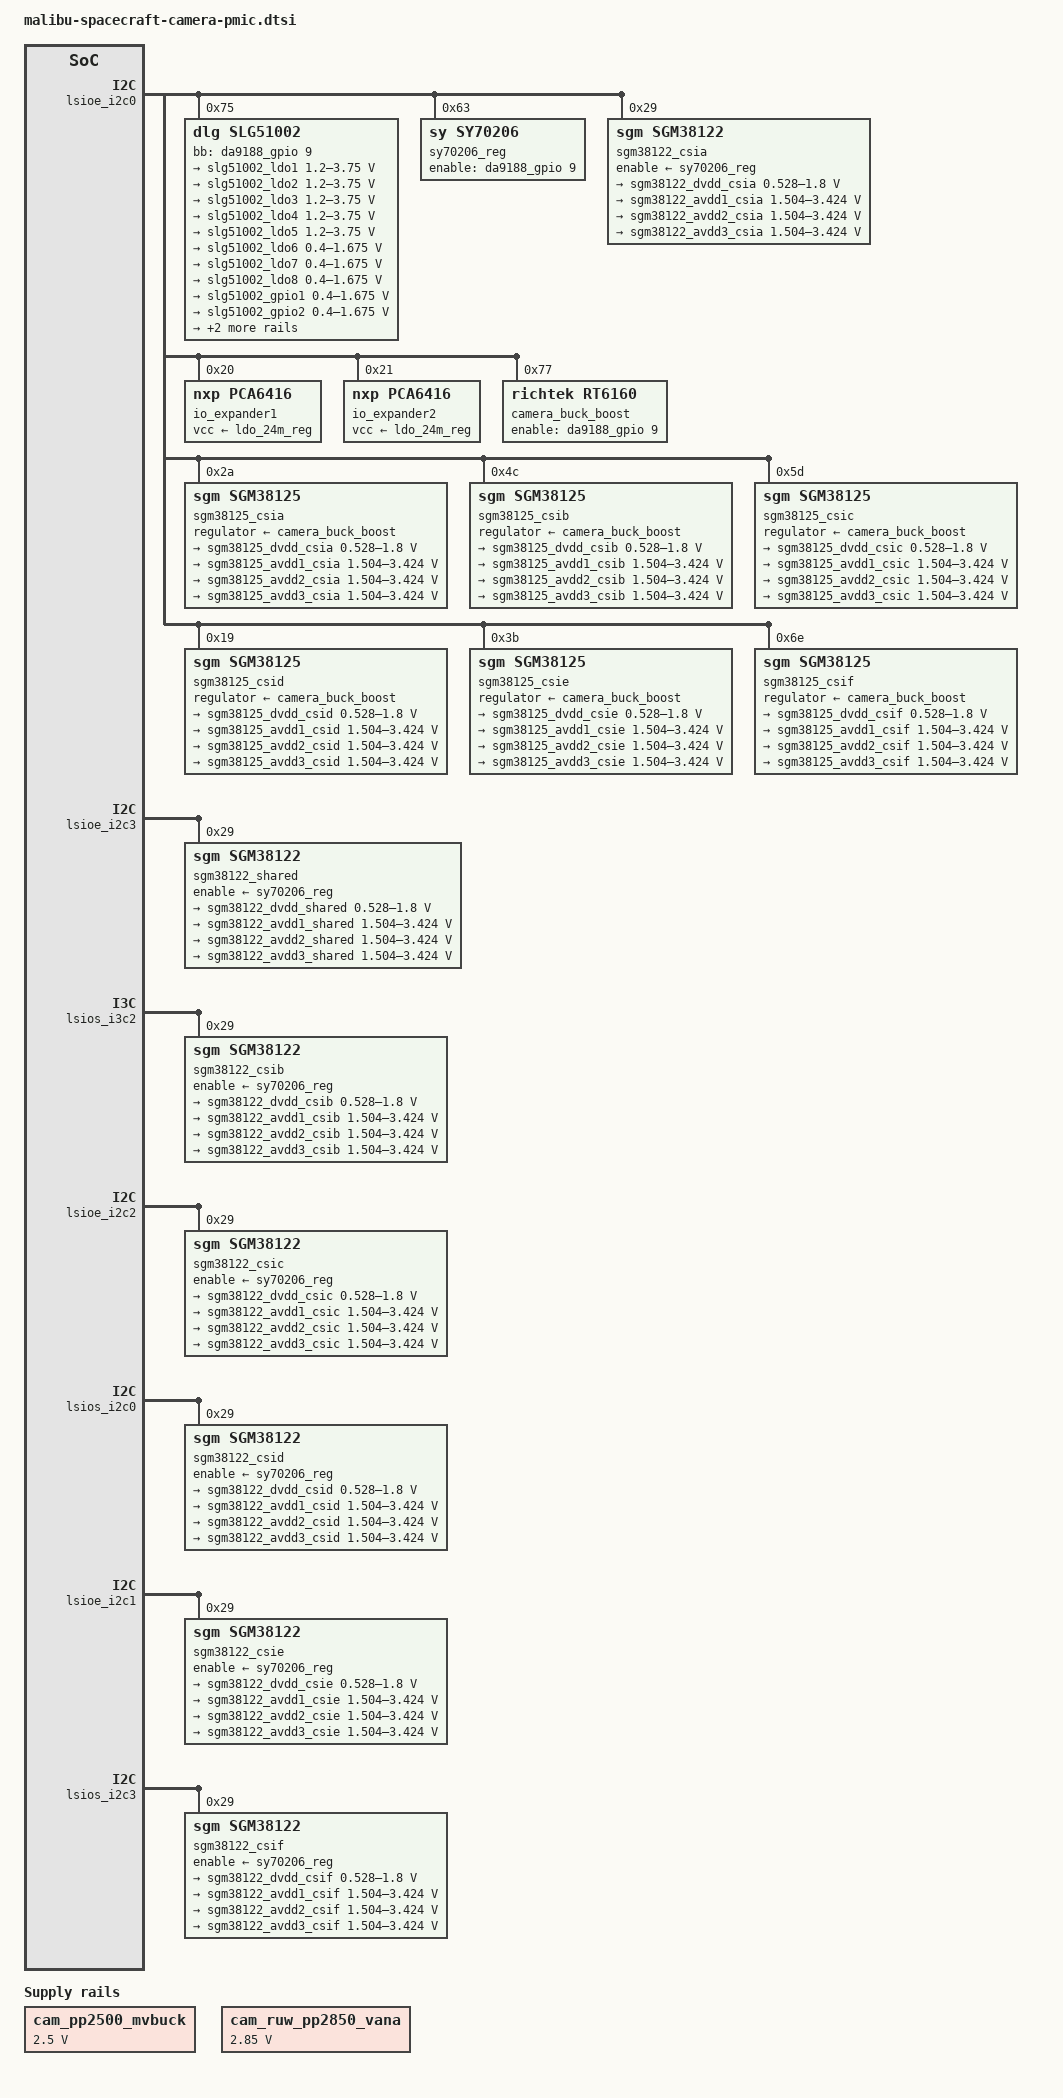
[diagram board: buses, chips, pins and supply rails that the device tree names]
// SPDX-License-Identifier: GPL-2.0-only
/*
 * camera PMIC device tree for spacecraft
 *
 * Copyright 2025 Google LLC.
 *
 */

/ {
	fragment@rcam_supply {
		target-path = "/";
		__overlay__ {
			/* SN62088AYFPR */
			cam_pp2500_mvbuck: cam_supply@0 {
				compatible = "regulator-fixed";
				status = "okay";
				regulator-name = "PP2500_CAM";
				regulator-min-microvolt = <2500000>;
				regulator-max-microvolt = <2500000>;
				/* 1.25ms */
				regulator-enable-ramp-delay = <1250>;
				enable-active-high;
				/* MVBUCK_EN */
				gpio = <PMICM2CAM_LVBUCK_EN(GPIO_ACTIVE_HIGH)>;
			};
			/* AP7361C */
			cam_ruw_pp2850_vana: cam_supply@1 {
				compatible = "regulator-fixed";
				status = "okay";
				regulator-name = "RUWCAM_VANA";
				regulator-min-microvolt = <2850000>;
				regulator-max-microvolt = <2850000>;
				/* 300us */
				regulator-enable-ramp-delay = <300>;
				enable-active-high;
				/* VANA_EN */
				gpio = <PMICM2RCAM_VANA_EN(GPIO_ACTIVE_HIGH)>;
			};
		};
	};
};

&lsioe_i2c0 {
	#address-cells = <1>;
	#size-cells = <0>;
	slg51002: slg51002@75 {
		compatible = "dlg,slg51002";
		reg = <0x75>;
		status = "ok";
		dlg,buck-gpios = <PMICS2CAM_MVBUCK_EN(GPIO_ACTIVE_HIGH)>;
		dlg,bb-gpios = <&da9188_gpio 9 GPIO_ACTIVE_HIGH>;
		dlg,cs-gpios = <PMICS2CAM_PMIC_EN(GPIO_ACTIVE_HIGH)>;
		dlg,reg-init-cells = <2>;

		regulators {
			slg51002_ldo1: ldo1 {
				regulator-name = "ldo1";
				regulator-min-microvolt = <1200000>;
				regulator-max-microvolt = <3750000>;
			};

			slg51002_ldo2: ldo2 {
				regulator-name = "ldo2";
				regulator-min-microvolt = <1200000>;
				regulator-max-microvolt = <3750000>;
			};

			slg51002_ldo3: ldo3 {
				regulator-name = "ldo3";
				regulator-min-microvolt = <1200000>;
				regulator-max-microvolt = <3750000>;
			};

			slg51002_ldo4: ldo4 {
				regulator-name = "ldo4";
				regulator-min-microvolt = <1200000>;
				regulator-max-microvolt = <3750000>;
			};

			slg51002_ldo5: ldo5 {
				regulator-name = "ldo5";
				regulator-min-microvolt = <1200000>;
				regulator-max-microvolt = <3750000>;
			};

			slg51002_ldo6: ldo6 {
				regulator-name = "ldo6";
				regulator-min-microvolt = <400000>;
				regulator-max-microvolt = <1675000>;
			};

			slg51002_ldo7: ldo7 {
				regulator-name = "ldo7";
				regulator-min-microvolt = <400000>;
				regulator-max-microvolt = <1675000>;
			};

			slg51002_ldo8: ldo8 {
				regulator-name = "ldo8";
				regulator-min-microvolt = <400000>;
				regulator-max-microvolt = <1675000>;
			};

			slg51002_gpio1: gpio1 {
				regulator-name = "gpio1";
				regulator-min-microvolt = <400000>;
				regulator-max-microvolt = <1675000>;
			};

			slg51002_gpio2: gpio2 {
				regulator-name = "gpio2";
				regulator-min-microvolt = <400000>;
				regulator-max-microvolt = <1675000>;
			};

			slg51002_gpio3: gpio3 {
				regulator-name = "gpio3";
				regulator-min-microvolt = <400000>;
				regulator-max-microvolt = <1675000>;
			};

			slg51002_gpio4: gpio4 {
				regulator-name = "gpio4";
				regulator-min-microvolt = <400000>;
				regulator-max-microvolt = <1675000>;
			};
		};

		slg51002_gpio: slg51002_gpio {
			gpio-controller;
			#gpio-cells = <2>;
			ngpios = <8>;
			gpio-ranges = <&slg51002_pinctrl 0 0 8>;
		};

		slg51002_pinctrl: slg51002_pinctrl {
		};
	};

	sy70206_reg: sy70206@63 {
		compatible = "sy,sy70206";
		reg = <0x63>;
		enable-gpios = <&da9188_gpio 9 GPIO_ACTIVE_HIGH>;
		status = "ok";
		regulator-name = "sy70206-regulator";
		regulator-min-microvolt = <3200000>;
		regulator-max-microvolt = <3200000>;
		regulator-always-on;
		/* REGULATOR_MODE_NORMAL (auto) */
		regulator-initial-mode = <0x2>;
		/* Allow for NORMAL (auto) and FAST (FPWM) mode */
		regulator-allowed-modes = <0x2>, <0x1>;
	};

	sgm38122_csia: sgm38122@29 {
		compatible = "sgm,sgm38122";
		reg = <0x29>;
		enable-supply = <&sy70206_reg>;
		status = "ok";

		regulators {
			sgm38122_dvdd_csia: dvdd {
				regulator-name = "dvdd";
				regulator-min-microvolt = <528000>;
				regulator-max-microvolt = <1800000>;
			};

			sgm38122_avdd1_csia: avdd1 {
				regulator-name = "avdd1";
				regulator-min-microvolt = <1504000>;
				regulator-max-microvolt = <3424000>;
			};

			sgm38122_avdd2_csia: avdd2 {
				regulator-name = "avdd2";
				regulator-min-microvolt = <1504000>;
				regulator-max-microvolt = <3424000>;
			};

			sgm38122_avdd3_csia: avdd3 {
				regulator-name = "avdd3";
				regulator-min-microvolt = <1504000>;
				regulator-max-microvolt = <3424000>;
			};
		};
	};

	io_expander1: io_expander@0 {
		compatible = "nxp,pca6416";
		reg = <0x20>;
		gpio-controller;
		#gpio-cells = <2>;
		vcc-supply = <&ldo_24m_reg>;
		gpio-line-names =
			"IO_EXPNDR_GPIO0",
			"IO_EXPNDR_GPIO1",
			"IO_EXPNDR_GPIO2",
			"IO_EXPNDR_GPIO3",
			"IO_EXPNDR_GPIO4",
			"IO_EXPNDR_GPIO5",
			"IO_EXPNDR_GPIO6",
			"IO_EXPNDR_GPIO7",
			"IO_EXPNDR_GPIO10",
			"IO_EXPNDR_GPIO11",
			"IO_EXPNDR_GPIO12",
			"IO_EXPNDR_GPIO13",
			"IO_EXPNDR_GPIO14",
			"IO_EXPNDR_GPIO15",
			"IO_EXPNDR_GPIO16",
			"IO_EXPNDR_GPIO17";

		io_expander1_default_hog {
			gpio-hog;
			gpios = <0 GPIO_ACTIVE_HIGH
				1 GPIO_ACTIVE_HIGH
				2 GPIO_ACTIVE_HIGH
				3 GPIO_ACTIVE_HIGH
				4 GPIO_ACTIVE_HIGH
				5 GPIO_ACTIVE_HIGH
				6 GPIO_ACTIVE_HIGH
				7 GPIO_ACTIVE_HIGH
				8 GPIO_ACTIVE_HIGH
				9 GPIO_ACTIVE_HIGH
				10 GPIO_ACTIVE_HIGH
				11 GPIO_ACTIVE_HIGH
				12 GPIO_ACTIVE_HIGH
				13 GPIO_ACTIVE_HIGH
				14 GPIO_ACTIVE_HIGH
				15 GPIO_ACTIVE_HIGH>;
			output-high;
		};
	};

	io_expander2: io_expander@1 {
		compatible = "nxp,pca6416";
		reg = <0x21>;
		gpio-controller;
		#gpio-cells = <2>;
		vcc-supply = <&ldo_24m_reg>;
		gpio-line-names =
			"IO_EXPNDR2_GPIO0",
			"IO_EXPNDR2_GPIO1",
			"IO_EXPNDR2_GPIO2",
			"IO_EXPNDR2_GPIO3",
			"IO_EXPNDR2_GPIO4",
			"IO_EXPNDR2_GPIO5",
			"IO_EXPNDR2_GPIO6",
			"IO_EXPNDR2_GPIO7",
			"IO_EXPNDR2_GPIO10",
			"IO_EXPNDR2_GPIO11",
			"IO_EXPNDR2_GPIO12",
			"IO_EXPNDR2_GPIO13";

		io_expander2_default_hog {
			gpio-hog;
			gpios = <0 GPIO_ACTIVE_HIGH
				1 GPIO_ACTIVE_HIGH
				2 GPIO_ACTIVE_HIGH
				3 GPIO_ACTIVE_HIGH
				4 GPIO_ACTIVE_HIGH
				6 GPIO_ACTIVE_HIGH
				8 GPIO_ACTIVE_HIGH
				9 GPIO_ACTIVE_HIGH
				10 GPIO_ACTIVE_HIGH
				11 GPIO_ACTIVE_HIGH
				12 GPIO_ACTIVE_HIGH
				13 GPIO_ACTIVE_HIGH
				14 GPIO_ACTIVE_HIGH
				15 GPIO_ACTIVE_HIGH>;
			output-high;
		};
	};

	camera_buck_boost: rt6166@77 {
		compatible = "richtek,rt6160";
		reg = <0x77>;
		/* PMICS2CAM_BBPMIC_E */
		enable-gpios = <&da9188_gpio 9 GPIO_ACTIVE_HIGH>;
		status = "ok";
		regulator-name = "rt6166-regulator";
		regulator-min-microvolt = <3200000>;
		regulator-max-microvolt = <3200000>;
		regulator-always-on;
		/* 2ms */
		regulator-enable-ramp-delay = <2000>;
		/* RT6160_MODE_AUTO */
		regulator-initial-mode = <0x0>;
		/* Allow for NORMAL (auto) and FAST (FPWM) mode */
		regulator-allowed-modes = <0x0>, <0x1>;
	};

	sgm38125_csia: sgm38125@2A {
		compatible = "sgm,sgm38125";
		reg = <0x2A>;
		regulator-supply = <&camera_buck_boost>;
		status = "ok";

		regulators {
			sgm38125_dvdd_csia: dvdd {
				regulator-name = "dvdd";
				regulator-min-microvolt = <528000>;
				regulator-max-microvolt = <1800000>;
				in1-supply = <&cam_pp2500_mvbuck>;
			};

			sgm38125_avdd1_csia: avdd1 {
				regulator-name = "avdd1";
				regulator-min-microvolt = <1504000>;
				regulator-max-microvolt = <3424000>;
				in2-supply = <&camera_buck_boost>;
			};

			sgm38125_avdd2_csia: avdd2 {
				regulator-name = "avdd2";
				regulator-min-microvolt = <1504000>;
				regulator-max-microvolt = <3424000>;
				in2-supply = <&camera_buck_boost>;
			};

			sgm38125_avdd3_csia: avdd3 {
				regulator-name = "avdd3";
				regulator-min-microvolt = <1504000>;
				regulator-max-microvolt = <3424000>;
				in3-supply = <&cam_pp2500_mvbuck>;
			};
		};
	};

	sgm38125_csib: sgm38125@4C {
		compatible = "sgm,sgm38125";
		reg = <0x4C>;
		regulator-supply = <&camera_buck_boost>;
		status = "ok";

		regulators {
			sgm38125_dvdd_csib: dvdd {
				regulator-name = "dvdd";
				regulator-min-microvolt = <528000>;
				regulator-max-microvolt = <1800000>;
				in1-supply = <&cam_pp2500_mvbuck>;
			};

			sgm38125_avdd1_csib: avdd1 {
				regulator-name = "avdd1";
				regulator-min-microvolt = <1504000>;
				regulator-max-microvolt = <3424000>;
				in2-supply = <&camera_buck_boost>;
			};

			sgm38125_avdd2_csib: avdd2 {
				regulator-name = "avdd2";
				regulator-min-microvolt = <1504000>;
				regulator-max-microvolt = <3424000>;
				in2-supply = <&camera_buck_boost>;
			};

			sgm38125_avdd3_csib: avdd3 {
				regulator-name = "avdd3";
				regulator-min-microvolt = <1504000>;
				regulator-max-microvolt = <3424000>;
				in3-supply = <&cam_pp2500_mvbuck>;
			};
		};
	};

	sgm38125_csic: sgm38125@5D {
		compatible = "sgm,sgm38125";
		reg = <0x5D>;
		regulator-supply = <&camera_buck_boost>;
		status = "ok";

		regulators {
			sgm38125_dvdd_csic: dvdd {
				regulator-name = "dvdd";
				regulator-min-microvolt = <528000>;
				regulator-max-microvolt = <1800000>;
			};

			sgm38125_avdd1_csic: avdd1 {
				regulator-name = "avdd1";
				regulator-min-microvolt = <1504000>;
				regulator-max-microvolt = <3424000>;
				in2-supply = <&camera_buck_boost>;
			};

			sgm38125_avdd2_csic: avdd2 {
				regulator-name = "avdd2";
				regulator-min-microvolt = <1504000>;
				regulator-max-microvolt = <3424000>;
				in2-supply = <&camera_buck_boost>;
			};

			sgm38125_avdd3_csic: avdd3 {
				regulator-name = "avdd3";
				regulator-min-microvolt = <1504000>;
				regulator-max-microvolt = <3424000>;
			};
		};
	};

	sgm38125_csid: sgm38125@19 {
		compatible = "sgm,sgm38125";
		reg = <0x19>;
		regulator-supply = <&camera_buck_boost>;
		status = "ok";

		regulators {
			sgm38125_dvdd_csid: dvdd {
				regulator-name = "dvdd";
				regulator-min-microvolt = <528000>;
				regulator-max-microvolt = <1800000>;
				in1-supply = <&cam_pp2500_mvbuck>;
			};

			sgm38125_avdd1_csid: avdd1 {
				regulator-name = "avdd1";
				regulator-min-microvolt = <1504000>;
				regulator-max-microvolt = <3424000>;
				in2-supply = <&camera_buck_boost>;
			};

			sgm38125_avdd2_csid: avdd2 {
				regulator-name = "avdd2";
				regulator-min-microvolt = <1504000>;
				regulator-max-microvolt = <3424000>;
				in2-supply = <&camera_buck_boost>;
			};

			sgm38125_avdd3_csid: avdd3 {
				regulator-name = "avdd3";
				regulator-min-microvolt = <1504000>;
				regulator-max-microvolt = <3424000>;
				in3-supply = <&cam_pp2500_mvbuck>;
			};
		};
	};

	sgm38125_csie: sgm38125@3B {
		compatible = "sgm,sgm38125";
		reg = <0x3B>;
		regulator-supply = <&camera_buck_boost>;
		status = "ok";

		regulators {
			sgm38125_dvdd_csie: dvdd {
				regulator-name = "dvdd";
				regulator-min-microvolt = <528000>;
				regulator-max-microvolt = <1800000>;
				in1-supply = <&cam_pp2500_mvbuck>;
			};

			sgm38125_avdd1_csie: avdd1 {
				regulator-name = "avdd1";
				regulator-min-microvolt = <1504000>;
				regulator-max-microvolt = <3424000>;
				in2-supply = <&camera_buck_boost>;
			};

			sgm38125_avdd2_csie: avdd2 {
				regulator-name = "avdd2";
				regulator-min-microvolt = <1504000>;
				regulator-max-microvolt = <3424000>;
				in2-supply = <&camera_buck_boost>;
			};

			sgm38125_avdd3_csie: avdd3 {
				regulator-name = "avdd3";
				regulator-min-microvolt = <1504000>;
				regulator-max-microvolt = <3424000>;
				in3-supply = <&cam_pp2500_mvbuck>;
			};
		};
	};

	sgm38125_csif: sgm38125@6E {
		compatible = "sgm,sgm38125";
		reg = <0x6E>;
		regulator-supply = <&camera_buck_boost>;
		status = "ok";

		regulators {
			sgm38125_dvdd_csif: dvdd {
				regulator-name = "dvdd";
				regulator-min-microvolt = <528000>;
				regulator-max-microvolt = <1800000>;
			};

			sgm38125_avdd1_csif: avdd1 {
				regulator-name = "avdd1";
				regulator-min-microvolt = <1504000>;
				regulator-max-microvolt = <3424000>;
				in2-supply = <&camera_buck_boost>;
			};

			sgm38125_avdd2_csif: avdd2 {
				regulator-name = "avdd2";
				regulator-min-microvolt = <1504000>;
				regulator-max-microvolt = <3424000>;
				in2-supply = <&camera_buck_boost>;
			};

			sgm38125_avdd3_csif: avdd3 {
				regulator-name = "avdd3";
				regulator-min-microvolt = <1504000>;
				regulator-max-microvolt = <3424000>;
			};
		};
	};
};

&lsioe_i2c3 {
	#address-cells = <1>;
	#size-cells = <0>;

	sgm38122_shared: sgm38122@29 {
		compatible = "sgm,sgm38122";
		reg = <0x29>;
		enable-supply = <&sy70206_reg>;
		status = "ok";

		regulators {
			sgm38122_dvdd_shared: dvdd {
				regulator-name = "dvdd";
				regulator-min-microvolt = <528000>;
				regulator-max-microvolt = <1800000>;
			};

			sgm38122_avdd1_shared: avdd1 {
				regulator-name = "avdd1";
				regulator-min-microvolt = <1504000>;
				regulator-max-microvolt = <3424000>;
			};

			sgm38122_avdd2_shared: avdd2 {
				regulator-name = "avdd2";
				regulator-min-microvolt = <1504000>;
				regulator-max-microvolt = <3424000>;
			};

			sgm38122_avdd3_shared: avdd3 {
				regulator-name = "avdd3";
				regulator-min-microvolt = <1504000>;
				regulator-max-microvolt = <3424000>;
			};
		};
	};
};

&lsios_i3c2 {
	#address-cells = <1>;
	#size-cells = <0>;

	sgm38122_csib: sgm38122@29 {
		compatible = "sgm,sgm38122";
		reg = <0x29 0x0 0x00>;
		enable-supply = <&sy70206_reg>;
		status = "ok";

		regulators {
			sgm38122_dvdd_csib: dvdd {
				regulator-name = "dvdd";
				regulator-min-microvolt = <528000>;
				regulator-max-microvolt = <1800000>;
			};

			sgm38122_avdd1_csib: avdd1 {
				regulator-name = "avdd1";
				regulator-min-microvolt = <1504000>;
				regulator-max-microvolt = <3424000>;
			};

			sgm38122_avdd2_csib: avdd2 {
				regulator-name = "avdd2";
				regulator-min-microvolt = <1504000>;
				regulator-max-microvolt = <3424000>;
			};

			sgm38122_avdd3_csib: avdd3 {
				regulator-name = "avdd3";
				regulator-min-microvolt = <1504000>;
				regulator-max-microvolt = <3424000>;
			};
		};
	};
};

&lsioe_i2c2 {
	#address-cells = <1>;
	#size-cells = <0>;

	sgm38122_csic: sgm38122@29 {
		compatible = "sgm,sgm38122";
		reg = <0x29>;
		enable-supply = <&sy70206_reg>;
		status = "ok";

		regulators {
			sgm38122_dvdd_csic: dvdd {
				regulator-name = "dvdd";
				regulator-min-microvolt = <528000>;
				regulator-max-microvolt = <1800000>;
			};

			sgm38122_avdd1_csic: avdd1 {
				regulator-name = "avdd1";
				regulator-min-microvolt = <1504000>;
				regulator-max-microvolt = <3424000>;
			};

			sgm38122_avdd2_csic: avdd2 {
				regulator-name = "avdd2";
				regulator-min-microvolt = <1504000>;
				regulator-max-microvolt = <3424000>;
			};

			sgm38122_avdd3_csic: avdd3 {
				regulator-name = "avdd3";
				regulator-min-microvolt = <1504000>;
				regulator-max-microvolt = <3424000>;
			};
		};
	};
};

&lsios_i2c0 {
	#address-cells = <1>;
	#size-cells = <0>;

	sgm38122_csid: sgm38122@29 {
		compatible = "sgm,sgm38122";
		reg = <0x29>;
		enable-supply = <&sy70206_reg>;
		status = "ok";

		regulators {
			sgm38122_dvdd_csid: dvdd {
				regulator-name = "dvdd";
				regulator-min-microvolt = <528000>;
				regulator-max-microvolt = <1800000>;
			};

			sgm38122_avdd1_csid: avdd1 {
				regulator-name = "avdd1";
				regulator-min-microvolt = <1504000>;
				regulator-max-microvolt = <3424000>;
			};

			sgm38122_avdd2_csid: avdd2 {
				regulator-name = "avdd2";
				regulator-min-microvolt = <1504000>;
				regulator-max-microvolt = <3424000>;
			};

			sgm38122_avdd3_csid: avdd3 {
				regulator-name = "avdd3";
				regulator-min-microvolt = <1504000>;
				regulator-max-microvolt = <3424000>;
			};
		};
	};
};

&lsioe_i2c1 {
	#address-cells = <1>;
	#size-cells = <0>;

	sgm38122_csie: sgm38122@29 {
		compatible = "sgm,sgm38122";
		reg = <0x29>;
		enable-supply = <&sy70206_reg>;
		status = "ok";

		regulators {
			sgm38122_dvdd_csie: dvdd {
				regulator-name = "dvdd";
				regulator-min-microvolt = <528000>;
				regulator-max-microvolt = <1800000>;
			};

			sgm38122_avdd1_csie: avdd1 {
				regulator-name = "avdd1";
				regulator-min-microvolt = <1504000>;
				regulator-max-microvolt = <3424000>;
			};

			sgm38122_avdd2_csie: avdd2 {
				regulator-name = "avdd2";
				regulator-min-microvolt = <1504000>;
				regulator-max-microvolt = <3424000>;
			};

			sgm38122_avdd3_csie: avdd3 {
				regulator-name = "avdd3";
				regulator-min-microvolt = <1504000>;
				regulator-max-microvolt = <3424000>;
			};
		};
	};
};

&lsios_i2c3 {
	#address-cells = <1>;
	#size-cells = <0>;

	sgm38122_csif: sgm38122@29 {
		compatible = "sgm,sgm38122";
		reg = <0x29>;
		enable-supply = <&sy70206_reg>;
		status = "ok";

		regulators {
			sgm38122_dvdd_csif: dvdd {
				regulator-name = "dvdd";
				regulator-min-microvolt = <528000>;
				regulator-max-microvolt = <1800000>;
			};

			sgm38122_avdd1_csif: avdd1 {
				regulator-name = "avdd1";
				regulator-min-microvolt = <1504000>;
				regulator-max-microvolt = <3424000>;
			};

			sgm38122_avdd2_csif: avdd2 {
				regulator-name = "avdd2";
				regulator-min-microvolt = <1504000>;
				regulator-max-microvolt = <3424000>;
			};

			sgm38122_avdd3_csif: avdd3 {
				regulator-name = "avdd3";
				regulator-min-microvolt = <1504000>;
				regulator-max-microvolt = <3424000>;
			};
		};
	};
};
